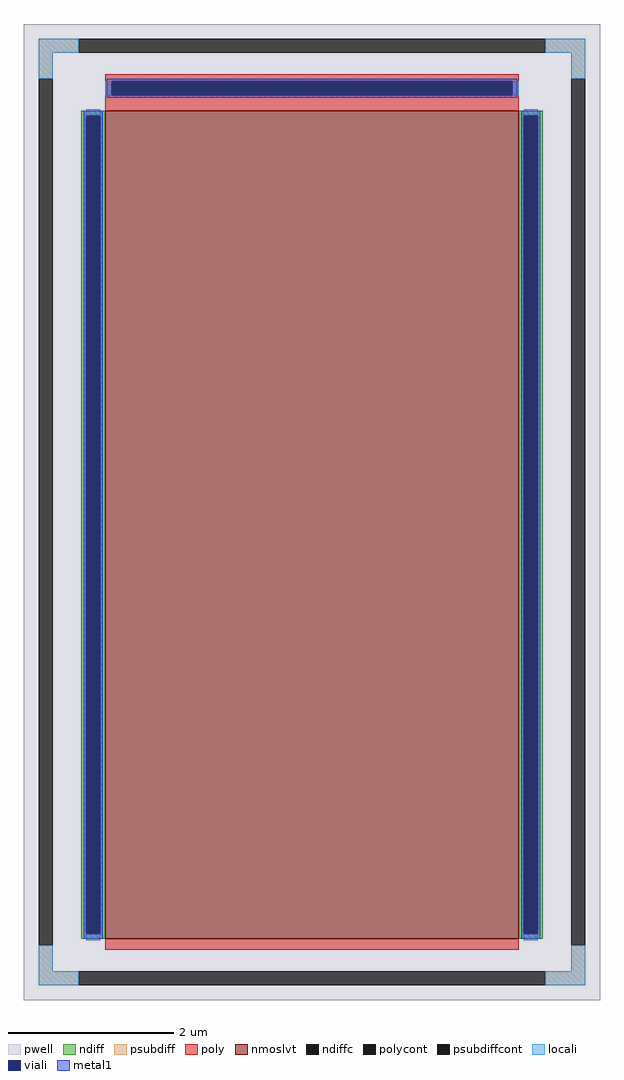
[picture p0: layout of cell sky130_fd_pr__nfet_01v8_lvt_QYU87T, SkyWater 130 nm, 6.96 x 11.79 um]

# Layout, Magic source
magic
tech sky130A
magscale 1 2
<< pwell >>
rect -696 -1179 696 1179
<< nmoslvt >>
rect -500 -1031 500 969
<< ndiff >>
rect -558 957 -500 969
rect -558 -1019 -546 957
rect -512 -1019 -500 957
rect -558 -1031 -500 -1019
rect 500 957 558 969
rect 500 -1019 512 957
rect 546 -1019 558 957
rect 500 -1031 558 -1019
<< ndiffc >>
rect -546 -1019 -512 957
rect 512 -1019 546 957
<< psubdiff >>
rect -660 1109 -564 1143
rect 564 1109 660 1143
rect -660 1047 -626 1109
rect 626 1047 660 1109
rect -660 -1109 -626 -1047
rect 626 -1109 660 -1047
rect -660 -1143 -564 -1109
rect 564 -1143 660 -1109
<< psubdiffcont >>
rect -564 1109 564 1143
rect -660 -1047 -626 1047
rect 626 -1047 660 1047
rect -564 -1143 564 -1109
<< poly >>
rect -500 1041 500 1057
rect -500 1007 -484 1041
rect 484 1007 500 1041
rect -500 969 500 1007
rect -500 -1057 500 -1031
<< polycont >>
rect -484 1007 484 1041
<< locali >>
rect -660 1109 -564 1143
rect 564 1109 660 1143
rect -660 1047 -626 1109
rect 626 1047 660 1109
rect -500 1007 -484 1041
rect 484 1007 500 1041
rect -546 957 -512 973
rect -546 -1035 -512 -1019
rect 512 957 546 973
rect 512 -1035 546 -1019
rect -660 -1109 -626 -1047
rect 626 -1109 660 -1047
rect -660 -1143 -564 -1109
rect 564 -1143 660 -1109
<< viali >>
rect -484 1007 484 1041
rect -546 -1019 -512 957
rect 512 -1019 546 957
<< metal1 >>
rect -496 1041 496 1047
rect -496 1007 -484 1041
rect 484 1007 496 1041
rect -496 1001 496 1007
rect -552 957 -506 969
rect -552 -1019 -546 957
rect -512 -1019 -506 957
rect -552 -1031 -506 -1019
rect 506 957 552 969
rect 506 -1019 512 957
rect 546 -1019 552 957
rect 506 -1031 552 -1019
<< properties >>
string FIXED_BBOX -643 -1126 643 1126
string gencell sky130_fd_pr__nfet_01v8_lvt
string library sky130
string parameters w 10.0 l 5.0 m 1 nf 1 diffcov 100 polycov 100 guard 1 glc 1 grc 1 gtc 1 gbc 1 tbcov 100 rlcov 100 topc 1 botc 0 poverlap 0 doverlap 1 lmin 0.15 wmin 0.42 compatible {sky130_fd_pr__nfet_01v8 sky130_fd_pr__nfet_01v8_lvt  sky130_fd_bs_flash__special_sonosfet_star  sky130_fd_pr__nfet_g5v0d10v5 sky130_fd_pr__nfet_05v0_nvt  sky130_fd_pr__nfet_03v3_nvt} full_metal 1 viasrc 100 viadrn 100 viagate 100 viagb 0 viagr 0 viagl 0 viagt 0
<< end >>
